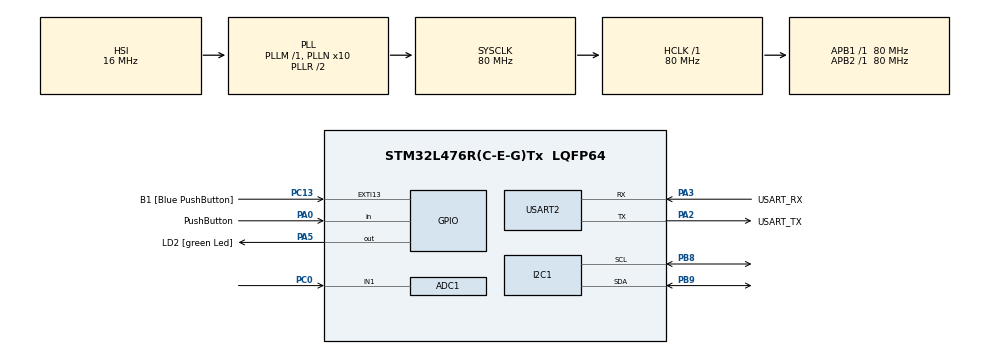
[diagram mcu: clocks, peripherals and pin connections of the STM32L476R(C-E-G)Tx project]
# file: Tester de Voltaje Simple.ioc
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ADC1.Channel-0\#ChannelRegularConversion=ADC_CHANNEL_1
ADC1.ContinuousConvMode=ENABLE
ADC1.DMAContinuousRequests=ENABLE
ADC1.NbrOfConversionFlag=1
ADC1.OffsetNumber-0\#ChannelRegularConversion=ADC_OFFSET_NONE
ADC1.Rank-0\#ChannelRegularConversion=1
ADC1.SamplingTime-0\#ChannelRegularConversion=ADC_SAMPLETIME_640CYCLES_5
ADC1.master=1
Dma.ADC1.0.Direction=DMA_PERIPH_TO_MEMORY
Dma.ADC1.0.Instance=DMA1_Channel1
Dma.ADC1.0.MemDataAlignment=DMA_MDATAALIGN_WORD
Dma.ADC1.0.MemInc=DMA_MINC_ENABLE
Dma.ADC1.0.Mode=DMA_CIRCULAR
Dma.ADC1.0.PeriphDataAlignment=DMA_PDATAALIGN_WORD
Dma.ADC1.0.PeriphInc=DMA_PINC_DISABLE
Dma.ADC1.0.Priority=DMA_PRIORITY_LOW
Dma.Request0=ADC1
I2C1.Timing=0x10909CEC
Mcu.Family=STM32L4
Mcu.Name=STM32L476R(C-E-G)Tx
Mcu.Package=LQFP64
NVIC.DMA1_Channel1_IRQn=true\:0\:0\:false\:false\:true\:false\:true\:true
NVIC.PriorityGroup=NVIC_PRIORITYGROUP_4
NVIC.TIM2_IRQn=true\:0\:0\:false\:false\:true\:true\:true\:true
PA0.GPIO_Label=PushButton
PA0.GPIO_PuPd=GPIO_PULLDOWN
PA0.Signal=GPIO_Input
PA13\ (JTMS-SWDIO).GPIO_Label=TMS
PA13\ (JTMS-SWDIO).Mode=Serial_Wire
PA13\ (JTMS-SWDIO).Signal=SYS_JTMS-SWDIO
PA14\ (JTCK-SWCLK).GPIO_Label=TCK
PA14\ (JTCK-SWCLK).Mode=Serial_Wire
PA14\ (JTCK-SWCLK).Signal=SYS_JTCK-SWCLK
PA2.GPIO_Label=USART_TX
PA2.GPIO_Mode=GPIO_MODE_AF_PP
PA2.GPIO_PuPd=GPIO_NOPULL
PA2.GPIO_Speed=GPIO_SPEED_FREQ_VERY_HIGH
PA2.Mode=Asynchronous
PA2.Signal=USART2_TX
PA3.GPIO_Label=USART_RX
PA3.GPIO_Mode=GPIO_MODE_AF_PP
PA3.GPIO_PuPd=GPIO_NOPULL
PA3.GPIO_Speed=GPIO_SPEED_FREQ_VERY_HIGH
PA3.Mode=Asynchronous
PA3.Signal=USART2_RX
PA5.GPIO_Label=LD2 [green Led]
PA5.GPIO_ModeDefaultOutputPP=GPIO_MODE_OUTPUT_PP
PA5.GPIO_PuPd=GPIO_NOPULL
PA5.GPIO_Speed=GPIO_SPEED_FREQ_LOW
PA5.Signal=GPIO_Output
PB3\ (JTDO-TRACESWO).GPIO_Label=SWO
PB3\ (JTDO-TRACESWO).Signal=SYS_JTDO-SWO
PB8.Mode=I2C
PB8.Signal=I2C1_SCL
PB9.Mode=I2C
PB9.Signal=I2C1_SDA
PC0.Signal=ADCx_IN1
PC13.GPIO_Label=B1 [Blue PushButton]
PC13.GPIO_ModeDefaultEXTI=GPIO_MODE_IT_FALLING
PC13.GPIO_PuPd=GPIO_PULLUP
PC13.Signal=GPXTI13
PC14-OSC32_IN\ (PC14).Mode=LSE-External-Oscillator
PC14-OSC32_IN\ (PC14).Signal=RCC_OSC32_IN
PC15-OSC32_OUT\ (PC15).Mode=LSE-External-Oscillator
PC15-OSC32_OUT\ (PC15).Signal=RCC_OSC32_OUT
PH0-OSC_IN\ (PH0).Signal=RCC_OSC_IN
PH1-OSC_OUT\ (PH1).Signal=RCC_OSC_OUT
ProjectManager.HeapSize=0x200
ProjectManager.StackSize=0x400
ProjectManager.TargetToolchain=STM32CubeIDE
RCC.ADCFreq_Value=64000000
RCC.AHBFreq_Value=80000000
RCC.APB1Freq_Value=80000000
RCC.APB1TimFreq_Value=80000000
RCC.APB2Freq_Value=80000000
RCC.APB2TimFreq_Value=80000000
RCC.CortexFreq_Value=80000000
RCC.HCLKFreq_Value=80000000
RCC.HSE_VALUE=8000000
RCC.HSI_VALUE=16000000
RCC.MSI_VALUE=4000000
RCC.PLLN=10
RCC.PLLSourceVirtual=RCC_PLLSOURCE_HSI
RCC.PREFETCH_ENABLE=1
RCC.SYSCLKFreq_VALUE=80000000
RCC.SYSCLKSource=RCC_SYSCLKSOURCE_PLLCLK
RCC.USBFreq_Value=64000000
RCC.VCOOutputFreq_Value=160000000
SH.ADCx_IN1.0=ADC1_IN1,IN1-Single-Ended
TIM2.Period=10000
TIM2.Prescaler=80-1
USART2.VirtualMode-Asynchronous=VM_ASYNC
VP_TIM2_VS_ClockSourceINT.Mode=Internal
board=NUCLEO-L476RG

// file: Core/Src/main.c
/* USER CODE BEGIN Header */
/**
  ******************************************************************************
  * @file           : main.c
  * @brief          : Main program body
  ******************************************************************************
  * @attention
  *
  * Copyright (c) 2024 STMicroelectronics.
  * All rights reserved.
  *
  * This software is licensed under terms that can be found in the LICENSE file
  * in the root directory of this software component.
  * If no LICENSE file comes with this software, it is provided AS-IS.
  *
  ******************************************************************************
  */
/* USER CODE END Header */
#include "main.h"

/* USER CODE BEGIN Includes */
#include <stdio.h>
#include <stdlib.h>
#include <math.h>
#include "i2c-lcd.h"
/* USER CODE END Includes */

/* USER CODE BEGIN PD */
#define PUERTO_PB_A   GPIOA         //Puerto Boton Externo
#define PIN_PB_A 	  GPIO_PIN_0    //Pin Boton Externo
//#define PUERTO_PB_A   GPIOC
//#define PIN_PB_A 	  GPIO_PIN_13
//#define PUERTO_PB1    GPIOA
//#define PIN_PB1 	  GPIO_PIN_0
#define TRUE	  1
#define FALSE     0
#define ESTADO_MEDIDOR   0
#define ESTADO_INICIAL   1
#define ESTADO_INTERMEDIO   2
#define MEDIDOR_ON   1          //Empezar a medir voltaje
#define MEDIDOR_OFF  0          //Dejar de medir voltaje
#define CAL 1.685               //Valor de Calibracion
#define MUESTRAS     20         //Muestras a realizar

/* USER CODE END PD */

ADC_HandleTypeDef hadc1;
DMA_HandleTypeDef hdma_adc1;

I2C_HandleTypeDef hi2c1;

TIM_HandleTypeDef htim2;

UART_HandleTypeDef huart2;

/* USER CODE BEGIN PV */
int Func_ESTADO_INICIAL(void);
int Func_ESTADO_MEDIDOR(void);
int Func_ESTADO_INTERMEDIO(void);
char VOL_STR[5];                   //String del Voltaje
unsigned int Estado_Medidor;

volatile int ESTADO_ANTERIOR = ESTADO_INICIAL;
volatile int ESTADO_ACTUAL = ESTADO_INICIAL;
volatile int ESTADO_SIGUIENTE = ESTADO_INICIAL;
volatile struct INOUT
{
    unsigned int Sa:1;
} inout;
/* USER CODE END PV */

void SystemClock_Config(void);
static void MX_GPIO_Init(void);
static void MX_DMA_Init(void);
static void MX_USART2_UART_Init(void);
static void MX_TIM2_Init(void);
static void MX_ADC1_Init(void);
static void MX_I2C1_Init(void);
/* USER CODE BEGIN PFP */

#ifdef __GNUC__
#define PUTCHAR_PROTOTYPE int __io_putchar(int ch)
#else
#define PUTCHAR_PROTOTYPE int fputc(int ch, FILE *f)
#endif

PUTCHAR_PROTOTYPE
{
  HAL_UART_Transmit(&huart2, (uint8_t *)&ch, 1, HAL_MAX_DELAY);
  return ch;
}

/* USER CODE END PFP */

int main(void)
{

  /* MCU Configuration--------------------------------------------------------*/

  /* Reset of all peripherals, Initializes the Flash interface and the Systick. */
  HAL_Init();

  /* Configure the system clock */
  SystemClock_Config();

  /* Initialize all configured peripherals */
  MX_GPIO_Init();
  MX_DMA_Init();
  MX_USART2_UART_Init();
  MX_TIM2_Init();
  MX_ADC1_Init();
  MX_I2C1_Init();
  /* USER CODE BEGIN 2 */
  HAL_TIM_Base_Start_IT(&htim2);
  lcd_init();
  /* USER CODE END 2 */

  /* Infinite loop */
  /* USER CODE BEGIN WHILE */
  while (1)
  {
	if(ESTADO_SIGUIENTE == ESTADO_INICIAL)
	{
		ESTADO_SIGUIENTE = Func_ESTADO_INICIAL();
	}
	if(ESTADO_SIGUIENTE == ESTADO_INTERMEDIO)
	{
		ESTADO_SIGUIENTE = Func_ESTADO_INTERMEDIO();
	}

	if(ESTADO_SIGUIENTE == ESTADO_MEDIDOR)
	{
		ESTADO_SIGUIENTE = Func_ESTADO_MEDIDOR();
	}
    /* USER CODE END WHILE */

  }
}

void SystemClock_Config(void)
{
  RCC_OscInitTypeDef RCC_OscInitStruct = {0};
  RCC_ClkInitTypeDef RCC_ClkInitStruct = {0};

  /** Configure the main internal regulator output voltage
  */
  if (HAL_PWREx_ControlVoltageScaling(PWR_REGULATOR_VOLTAGE_SCALE1) != HAL_OK)
  {
    Error_Handler();
  }

  /** Initializes the RCC Oscillators according to the specified parameters
  * in the RCC_OscInitTypeDef structure.
  */
  RCC_OscInitStruct.OscillatorType = RCC_OSCILLATORTYPE_HSI;
  RCC_OscInitStruct.HSIState = RCC_HSI_ON;
  RCC_OscInitStruct.HSICalibrationValue = RCC_HSICALIBRATION_DEFAULT;
  RCC_OscInitStruct.PLL.PLLState = RCC_PLL_ON;
  RCC_OscInitStruct.PLL.PLLSource = RCC_PLLSOURCE_HSI;
  RCC_OscInitStruct.PLL.PLLM = 1;
  RCC_OscInitStruct.PLL.PLLN = 10;
  RCC_OscInitStruct.PLL.PLLP = RCC_PLLP_DIV7;
  RCC_OscInitStruct.PLL.PLLQ = RCC_PLLQ_DIV2;
  RCC_OscInitStruct.PLL.PLLR = RCC_PLLR_DIV2;
  if (HAL_RCC_OscConfig(&RCC_OscInitStruct) != HAL_OK)
  {
    Error_Handler();
  }

  /** Initializes the CPU, AHB and APB buses clocks
  */
  RCC_ClkInitStruct.ClockType = RCC_CLOCKTYPE_HCLK|RCC_CLOCKTYPE_SYSCLK
                              |RCC_CLOCKTYPE_PCLK1|RCC_CLOCKTYPE_PCLK2;
  RCC_ClkInitStruct.SYSCLKSource = RCC_SYSCLKSOURCE_PLLCLK;
  RCC_ClkInitStruct.AHBCLKDivider = RCC_SYSCLK_DIV1;
  RCC_ClkInitStruct.APB1CLKDivider = RCC_HCLK_DIV1;
  RCC_ClkInitStruct.APB2CLKDivider = RCC_HCLK_DIV1;

  if (HAL_RCC_ClockConfig(&RCC_ClkInitStruct, FLASH_LATENCY_4) != HAL_OK)
  {
    Error_Handler();
  }
}

static void MX_ADC1_Init(void)
{

  ADC_MultiModeTypeDef multimode = {0};
  ADC_ChannelConfTypeDef sConfig = {0};

  /** Common config
  */
  hadc1.Instance = ADC1;
  hadc1.Init.ClockPrescaler = ADC_CLOCK_ASYNC_DIV1;
  hadc1.Init.Resolution = ADC_RESOLUTION_12B;
  hadc1.Init.DataAlign = ADC_DATAALIGN_RIGHT;
  hadc1.Init.ScanConvMode = ADC_SCAN_DISABLE;
  hadc1.Init.EOCSelection = ADC_EOC_SINGLE_CONV;
  hadc1.Init.LowPowerAutoWait = DISABLE;
  hadc1.Init.ContinuousConvMode = ENABLE;
  hadc1.Init.NbrOfConversion = 1;
  hadc1.Init.DiscontinuousConvMode = DISABLE;
  hadc1.Init.ExternalTrigConv = ADC_SOFTWARE_START;
  hadc1.Init.ExternalTrigConvEdge = ADC_EXTERNALTRIGCONVEDGE_NONE;
  hadc1.Init.DMAContinuousRequests = ENABLE;
  hadc1.Init.Overrun = ADC_OVR_DATA_PRESERVED;
  hadc1.Init.OversamplingMode = DISABLE;
  if (HAL_ADC_Init(&hadc1) != HAL_OK)
  {
    Error_Handler();
  }

  /** Configure the ADC multi-mode
  */
  multimode.Mode = ADC_MODE_INDEPENDENT;
  if (HAL_ADCEx_MultiModeConfigChannel(&hadc1, &multimode) != HAL_OK)
  {
    Error_Handler();
  }

  /** Configure Regular Channel
  */
  sConfig.Channel = ADC_CHANNEL_1;
  sConfig.Rank = ADC_REGULAR_RANK_1;
  sConfig.SamplingTime = ADC_SAMPLETIME_640CYCLES_5;
  sConfig.SingleDiff = ADC_SINGLE_ENDED;
  sConfig.OffsetNumber = ADC_OFFSET_NONE;
  sConfig.Offset = 0;
  if (HAL_ADC_ConfigChannel(&hadc1, &sConfig) != HAL_OK)
  {
    Error_Handler();
  }

}

static void MX_I2C1_Init(void)
{

  hi2c1.Instance = I2C1;
  hi2c1.Init.Timing = 0x10909CEC;
  hi2c1.Init.OwnAddress1 = 0;
  hi2c1.Init.AddressingMode = I2C_ADDRESSINGMODE_7BIT;
  hi2c1.Init.DualAddressMode = I2C_DUALADDRESS_DISABLE;
  hi2c1.Init.OwnAddress2 = 0;
  hi2c1.Init.OwnAddress2Masks = I2C_OA2_NOMASK;
  hi2c1.Init.GeneralCallMode = I2C_GENERALCALL_DISABLE;
  hi2c1.Init.NoStretchMode = I2C_NOSTRETCH_DISABLE;
  if (HAL_I2C_Init(&hi2c1) != HAL_OK)
  {
    Error_Handler();
  }

  /** Configure Analogue filter
  */
  if (HAL_I2CEx_ConfigAnalogFilter(&hi2c1, I2C_ANALOGFILTER_ENABLE) != HAL_OK)
  {
    Error_Handler();
  }

  /** Configure Digital filter
  */
  if (HAL_I2CEx_ConfigDigitalFilter(&hi2c1, 0) != HAL_OK)
  {
    Error_Handler();
  }

}

static void MX_TIM2_Init(void)
{

  TIM_ClockConfigTypeDef sClockSourceConfig = {0};
  TIM_MasterConfigTypeDef sMasterConfig = {0};

  htim2.Instance = TIM2;
  htim2.Init.Prescaler = 80-1;
  htim2.Init.CounterMode = TIM_COUNTERMODE_UP;
  htim2.Init.Period = 10000;
  htim2.Init.ClockDivision = TIM_CLOCKDIVISION_DIV1;
  htim2.Init.AutoReloadPreload = TIM_AUTORELOAD_PRELOAD_DISABLE;
  if (HAL_TIM_Base_Init(&htim2) != HAL_OK)
  {
    Error_Handler();
  }
  sClockSourceConfig.ClockSource = TIM_CLOCKSOURCE_INTERNAL;
  if (HAL_TIM_ConfigClockSource(&htim2, &sClockSourceConfig) != HAL_OK)
  {
    Error_Handler();
  }
  sMasterConfig.MasterOutputTrigger = TIM_TRGO_RESET;
  sMasterConfig.MasterSlaveMode = TIM_MASTERSLAVEMODE_DISABLE;
  if (HAL_TIMEx_MasterConfigSynchronization(&htim2, &sMasterConfig) != HAL_OK)
  {
    Error_Handler();
  }

}

static void MX_USART2_UART_Init(void)
{

  huart2.Instance = USART2;
  huart2.Init.BaudRate = 115200;
  huart2.Init.WordLength = UART_WORDLENGTH_8B;
  huart2.Init.StopBits = UART_STOPBITS_1;
  huart2.Init.Parity = UART_PARITY_NONE;
  huart2.Init.Mode = UART_MODE_TX_RX;
  huart2.Init.HwFlowCtl = UART_HWCONTROL_NONE;
  huart2.Init.OverSampling = UART_OVERSAMPLING_16;
  huart2.Init.OneBitSampling = UART_ONE_BIT_SAMPLE_DISABLE;
  huart2.AdvancedInit.AdvFeatureInit = UART_ADVFEATURE_NO_INIT;
  if (HAL_UART_Init(&huart2) != HAL_OK)
  {
    Error_Handler();
  }

}

static void MX_DMA_Init(void)
{

  /* DMA controller clock enable */
  __HAL_RCC_DMA1_CLK_ENABLE();

  /* DMA interrupt init */
  /* DMA1_Channel1_IRQn interrupt configuration */
  HAL_NVIC_SetPriority(DMA1_Channel1_IRQn, 0, 0);
  HAL_NVIC_EnableIRQ(DMA1_Channel1_IRQn);

}

static void MX_GPIO_Init(void)
{
  GPIO_InitTypeDef GPIO_InitStruct = {0};

  /* GPIO Ports Clock Enable */
  __HAL_RCC_GPIOC_CLK_ENABLE();
  __HAL_RCC_GPIOH_CLK_ENABLE();
  __HAL_RCC_GPIOA_CLK_ENABLE();
  __HAL_RCC_GPIOB_CLK_ENABLE();

  /*Configure GPIO pin Output Level */
  HAL_GPIO_WritePin(LD2_GPIO_Port, LD2_Pin, GPIO_PIN_RESET);

  /*Configure GPIO pin : B1_Pin */
  GPIO_InitStruct.Pin = B1_Pin;
  GPIO_InitStruct.Mode = GPIO_MODE_IT_FALLING;
  GPIO_InitStruct.Pull = GPIO_PULLUP;
  HAL_GPIO_Init(B1_GPIO_Port, &GPIO_InitStruct);

  /*Configure GPIO pin : PushButton_Pin */
  GPIO_InitStruct.Pin = PushButton_Pin;
  GPIO_InitStruct.Mode = GPIO_MODE_INPUT;
  GPIO_InitStruct.Pull = GPIO_PULLDOWN;
  HAL_GPIO_Init(PushButton_GPIO_Port, &GPIO_InitStruct);

  /*Configure GPIO pin : LD2_Pin */
  GPIO_InitStruct.Pin = LD2_Pin;
  GPIO_InitStruct.Mode = GPIO_MODE_OUTPUT_PP;
  GPIO_InitStruct.Pull = GPIO_NOPULL;
  GPIO_InitStruct.Speed = GPIO_SPEED_FREQ_LOW;
  HAL_GPIO_Init(LD2_GPIO_Port, &GPIO_InitStruct);

}

/* USER CODE BEGIN 4 */

int Func_ESTADO_INICIAL(void)
{
    ESTADO_ANTERIOR = ESTADO_ACTUAL;
    ESTADO_ACTUAL = ESTADO_INICIAL;
    Estado_Medidor = MEDIDOR_OFF;
    for(;;)
    {
    	if(inout.Sa == TRUE)
        {
        	return ESTADO_INTERMEDIO;
        }
    }
}

int Func_ESTADO_INTERMEDIO(void)
{
    ESTADO_ANTERIOR = ESTADO_ACTUAL;
    ESTADO_ACTUAL = ESTADO_INTERMEDIO;
    for(;;)
    {
        if((inout.Sa == FALSE) && (ESTADO_ANTERIOR == ESTADO_INICIAL))
        {
        	return ESTADO_MEDIDOR;
        }
        if((inout.Sa == FALSE) && (ESTADO_ANTERIOR == ESTADO_MEDIDOR))
        {
            return ESTADO_INICIAL;
        }
    }
}

int Func_ESTADO_MEDIDOR(void)
{
    ESTADO_ANTERIOR = ESTADO_ACTUAL;
    ESTADO_ACTUAL = ESTADO_MEDIDOR;
    Estado_Medidor = MEDIDOR_ON;
    for(;;)
    {
    	if(inout.Sa == TRUE)
        {
        	return ESTADO_INTERMEDIO;
        }
    	lcd_clear();
		lcd_enviar("Voltaje:", 0, 2);     //Palabra Voltaje, Fila 0, Columna 2
		lcd_enviar(VOL_STR, 1, 2);
		HAL_Delay(1000);
    }
}

void HAL_TIM_PeriodElapsedCallback(TIM_HandleTypeDef *htim2)
{
	if(HAL_GPIO_ReadPin(PUERTO_PB_A, PIN_PB_A) == TRUE)
	{
		inout.Sa = TRUE;
	}
	else
	{
		inout.Sa = FALSE;
	}

	static unsigned cont_VOL = 0;
	static float Media = 0.0;
	static float VOLTAJE = 0.00;
	static uint32_t MED_ADC = 0;      //Medir ADC

	if (Estado_Medidor == MEDIDOR_ON)
	{
		HAL_ADC_Start_IT(&hadc1);
		MED_ADC = HAL_ADC_GetValue(&hadc1);
		if (cont_VOL >= MUESTRAS)
		{
			Media = Media/cont_VOL;
			Media = sqrtf(Media) * 0.0005;
			VOLTAJE = Media * CAL;
			sprintf(VOL_STR, "%.2f", VOLTAJE);      //Convertir de Float a String
			cont_VOL = 0;
			Media = 0;
		}
		else
		{
			MED_ADC = MED_ADC * MED_ADC;
			Media += MED_ADC;
			cont_VOL++;
			MED_ADC = 0;
		}
		HAL_ADC_Stop_IT(&hadc1);
	}
	else
	{
		HAL_ADC_Stop_IT(&hadc1);
	}

}
/* USER CODE END 4 */

void Error_Handler(void)
{
  __disable_irq();
  while (1)
  {
  }
}
